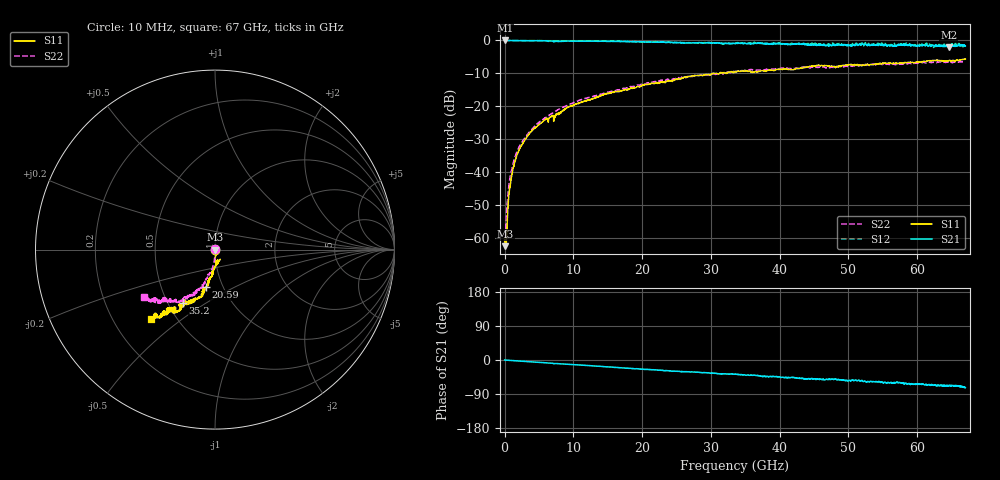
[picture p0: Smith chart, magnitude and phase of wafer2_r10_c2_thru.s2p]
!Keysight Technologies,N5227A,US51270248,A.10.65.08
!Date: Tuesday, June 11, 2024 05:59:44
!Correction: S11(Full 2 Port(1,4))
!S41(Full 2 Port(1,4))
!S14(Full 2 Port(1,4))
!S44(Full 2 Port(1,4))
!S2P File: Measurements: S11, S41, S14, S44:
# Hz S  dB  R 50
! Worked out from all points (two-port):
!   3201 points, 10 MHz to 67 GHz, reference 50 ohm
!   highest |S21| = 0.01 dB at 30.93 MHz (marker M1); lowest = -1.9 dB at 64.57 GHz (marker M2)
!   |S21| within 3 dB of the highest: start of sweep to end of sweep
!   lowest |S11| = -62.4 dB at 114.7 MHz (marker M3), VSWR 1.00, Z = 49.9 - j0.0377 ohm
!   |S11| at or under -10 dB: start of sweep to 30.22 GHz; 30.54 GHz to 30.71 GHz (165.5 MHz wide, 0.54 % of centre); 30.89 GHz to 31.28 GHz (390.6 MHz wide, 1.26 % of centre)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
!   |S22| runs from -62.4 to -6.4 dB; largest |S21 - S12| = 0.084
!   S11 on the Smith chart (normalised r, x): 10 MHz: 1.00, -0.00; 20.59 GHz: 0.83, -0.36; 35.2 GHz: 0.59, -0.40; 67 GHz: 0.37, -0.39
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1e7  -60.70 -172.8  0.01 -0.0  0.00 -0.0  -61.31 86.9
3.093438e7  -60.27 -169.0  0.01 -0.1  -0.00 -0.0  -61.85 -25.0
1.146719e8  -62.44 -150.0  0.01 -0.2  -0.00 -0.2  -60.88 -65.9
3.240156e8  -57.57 -84.4  -0.00 -0.5  -0.01 -0.5  -51.22 -67.9
5.961625e8  -47.69 -66.7  -0.02 -0.9  -0.01 -0.8  -44.53 -73.1
9.311125e8  -42.44 -66.0  -0.03 -1.4  -0.02 -1.2  -40.11 -78.2
1.538209e9  -36.45 -74.5  -0.04 -2.1  -0.03 -2.0  -35.29 -82.3
2.438388e9  -32.00 -82.8  -0.06 -3.1  -0.04 -3.1  -31.24 -86.9
3.799122e9  -27.85 -86.4  -0.07 -4.7  -0.05 -4.7  -27.40 -91.1
5.850691e9  -24.11 -92.1  -0.07 -7.1  -0.07 -7.2  -23.52 -93.4
1.118896e10  -18.76 -94.6  -0.21 -13.4  -0.15 -13.4  -17.91 -101.1
2.058849e10  -13.36 -104.1  -0.50 -24.7  -0.38 -24.5  -13.08 -108.8
2.234698e10  -12.92 -105.1  -0.51 -26.5  -0.41 -26.3  -12.53 -111.6
3.3505e10  -9.47 -116.5  -0.91 -37.2  -0.90 -37.5  -9.50 -122.6
3.520068e10  -9.16 -120.9  -1.01 -40.1  -0.83 -38.4  -8.95 -124.6
4.468396e10  -7.77 -121.6  -1.24 -49.4  -0.85 -48.6  -8.04 -133.6
5.584198e10  -6.86 -128.5  -1.38 -59.5  -1.41 -59.9  -7.25 -140.9
6.153613e10  -6.17 -129.4  -1.70 -66.2  -1.32 -67.4  -6.71 -142.7
6.264565e10  -6.10 -131.4  -1.41 -65.5  -1.62 -66.9  -6.62 -144.3
6.375517e10  -6.19 -133.1  -1.53 -68.3  -1.24 -68.4  -6.55 -145.5
6.457161e10  -6.11 -131.7  -1.94 -67.8  -1.67 -68.7  -6.55 -145.2
6.7e10  -5.62 -132.7  -1.69 -72.7  -1.84 -73.9  -6.42 -146.1
